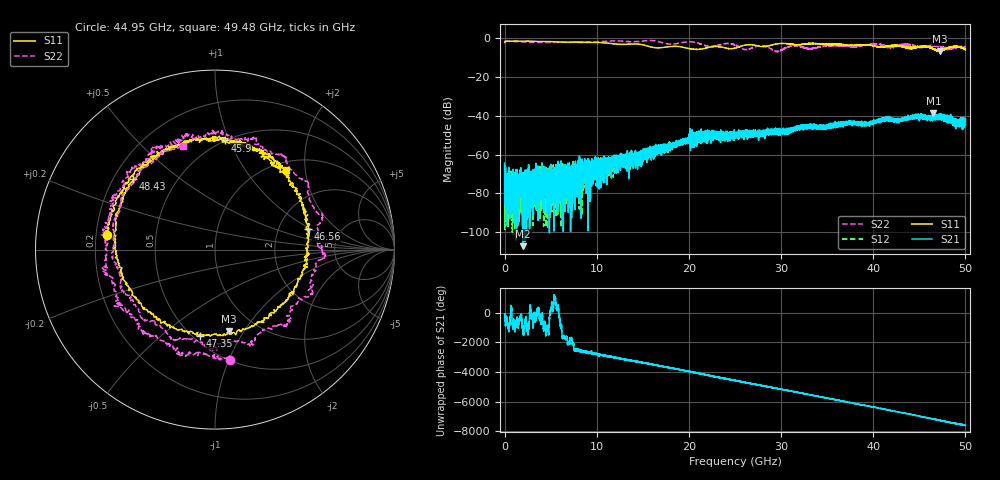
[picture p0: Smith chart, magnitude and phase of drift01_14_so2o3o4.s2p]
!Created with skrf (http://scikit-rf.org).
# Hz S RI R 50.0
!freq ReS11 ImS11 ReS21 ImS21 ReS12 ImS12 ReS22 ImS22
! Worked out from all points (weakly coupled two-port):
!   10001 points, 300 kHz to 50 GHz, reference 50 ohm
!   highest |S21| = -38.66 dB at 46.54 GHz (marker M1); lowest = -107.3 dB at 1.995 GHz (marker M2)
!   lowest |S11| = -6.7 dB at 47.21 GHz (marker M3), VSWR 2.71, Z = 37.2 - j43 ohm
!   |S11| at or under -10 dB: nowhere
!   |S22| runs from -6.9 to -1.0 dB; largest |S21 - S12| = 0.004
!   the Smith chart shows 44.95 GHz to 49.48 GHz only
!   S11 on the Smith chart (normalised r, x): 44.95 GHz: 0.24, +0.06; 45.9 GHz: 0.50, +0.96; 46.56 GHz: 2.91, +0.93; 47.35 GHz: 0.54, -0.69; 48.43 GHz: 0.28, +0.34; 49.48 GHz: 1.15, +1.58
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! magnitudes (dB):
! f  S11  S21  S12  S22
! 300 kHz  -2.1  -64.4  -65.0  -1.3
! 255.3 MHz  -1.4  -81.6  -81.1  -1.4
! 1.995 GHz  -1.4  -107.3  -76.2  -1.9
! 8.335 GHz  -1.9  -72.7  -69.0  -2.1
! 16.67 GHz  -4.9  -56.2  -58.4  -1.6
! 21.82 GHz  -5.0  -49.3  -49.3  -3.8
! 25 GHz  -5.0  -48.4  -49.4  -3.4
! 26.19 GHz  -3.4  -49.7  -48.8  -5.7
! 28.09 GHz  -4.3  -48.9  -49.3  -3.8
! 29.51 GHz  -2.8  -47.8  -48.3  -6.7
! 31.27 GHz  -3.1  -46.0  -48.3  -4.0
! 33.34 GHz  -2.6  -45.5  -45.2  -5.4
! 41.67 GHz  -3.9  -41.4  -41.6  -4.6
! 44.95 GHz  -4.3  -39.6  -39.9  -4.2
! 45.9 GHz  -4.3  -41.5  -41.4  -4.2
! 46.54 GHz  -5.3  -38.7  -40.4  -4.0
! 46.56 GHz  -5.5  -40.6  -40.5  -3.8
! 47.21 GHz  -6.7  -40.5  -40.5  -4.5
! 47.35 GHz  -6.2  -41.0  -40.4  -4.7
! 48.43 GHz  -4.4  -41.5  -42.1  -5.2
! 49.48 GHz  -4.5  -42.9  -44.1  -4.4
! 50 GHz  -5.7  -44.4  -42.8  -4.3
